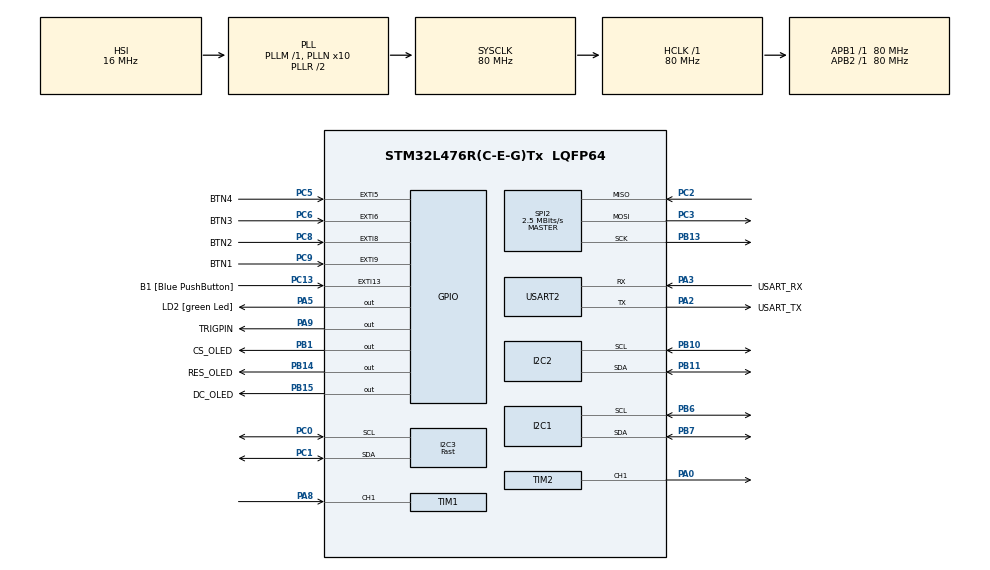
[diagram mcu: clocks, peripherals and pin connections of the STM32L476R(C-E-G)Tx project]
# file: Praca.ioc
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Dma.Request0=TIM2_CH1
Dma.TIM2_CH1.0.Direction=DMA_MEMORY_TO_PERIPH
Dma.TIM2_CH1.0.Instance=DMA1_Channel5
Dma.TIM2_CH1.0.MemDataAlignment=DMA_MDATAALIGN_HALFWORD
Dma.TIM2_CH1.0.MemInc=DMA_MINC_ENABLE
Dma.TIM2_CH1.0.Mode=DMA_NORMAL
Dma.TIM2_CH1.0.PeriphDataAlignment=DMA_PDATAALIGN_HALFWORD
Dma.TIM2_CH1.0.PeriphInc=DMA_PINC_DISABLE
Dma.TIM2_CH1.0.Priority=DMA_PRIORITY_LOW
I2C1.CustomTiming=Disabled
I2C1.Timing=0x10D19CE4
I2C2.Timing=0x10D19CE4
I2C3.I2C_Speed_Mode=I2C_Fast
I2C3.Timing=0x00F12981
Mcu.Family=STM32L4
Mcu.Name=STM32L476R(C-E-G)Tx
Mcu.Package=LQFP64
NVIC.DMA1_Channel5_IRQn=true\:0\:0\:false\:false\:true\:false\:true\:true
NVIC.EXTI9_5_IRQn=true\:0\:0\:false\:false\:true\:true\:true\:true
NVIC.PriorityGroup=NVIC_PRIORITYGROUP_4
NVIC.TIM1_CC_IRQn=true\:0\:0\:false\:false\:true\:true\:true\:true
PA0.Signal=S_TIM2_CH1
PA13\ (JTMS-SWDIO).GPIO_Label=TMS
PA13\ (JTMS-SWDIO).Mode=Serial_Wire
PA13\ (JTMS-SWDIO).Signal=SYS_JTMS-SWDIO
PA14\ (JTCK-SWCLK).GPIO_Label=TCK
PA14\ (JTCK-SWCLK).Mode=Serial_Wire
PA14\ (JTCK-SWCLK).Signal=SYS_JTCK-SWCLK
PA2.GPIO_Label=USART_TX
PA2.GPIO_Mode=GPIO_MODE_AF_PP
PA2.GPIO_PuPd=GPIO_NOPULL
PA2.GPIO_Speed=GPIO_SPEED_FREQ_VERY_HIGH
PA2.Mode=Asynchronous
PA2.Signal=USART2_TX
PA3.GPIO_Label=USART_RX
PA3.GPIO_Mode=GPIO_MODE_AF_PP
PA3.GPIO_PuPd=GPIO_NOPULL
PA3.GPIO_Speed=GPIO_SPEED_FREQ_VERY_HIGH
PA3.Mode=Asynchronous
PA3.Signal=USART2_RX
PA5.GPIO_Label=LD2 [green Led]
PA5.GPIO_ModeDefaultOutputPP=GPIO_MODE_OUTPUT_PP
PA5.GPIO_PuPd=GPIO_NOPULL
PA5.GPIO_Speed=GPIO_SPEED_FREQ_LOW
PA5.Signal=GPIO_Output
PA8.Signal=S_TIM1_CH1
PA9.GPIO_Label=TRIGPIN
PA9.Signal=GPIO_Output
PB1.GPIO_Label=CS_OLED
PB1.Signal=GPIO_Output
PB10.Mode=I2C
PB10.Signal=I2C2_SCL
PB11.Mode=I2C
PB11.Signal=I2C2_SDA
PB13.Mode=Full_Duplex_Master
PB13.Signal=SPI2_SCK
PB14.GPIO_Label=RES_OLED
PB14.Signal=GPIO_Output
PB15.GPIO_Label=DC_OLED
PB15.Signal=GPIO_Output
PB3\ (JTDO-TRACESWO).GPIO_Label=SWO
PB3\ (JTDO-TRACESWO).Signal=SYS_JTDO-SWO
PB6.Mode=I2C
PB6.Signal=I2C1_SCL
PB7.Mode=I2C
PB7.Signal=I2C1_SDA
PC0.Mode=I2C
PC0.Signal=I2C3_SCL
PC1.Mode=I2C
PC1.Signal=I2C3_SDA
PC13.GPIO_Label=B1 [Blue PushButton]
PC13.GPIO_ModeDefaultEXTI=GPIO_MODE_IT_FALLING
PC13.GPIO_PuPd=GPIO_NOPULL
PC13.Signal=GPXTI13
PC14-OSC32_IN\ (PC14).Mode=LSE-External-Oscillator
PC14-OSC32_IN\ (PC14).Signal=RCC_OSC32_IN
PC15-OSC32_OUT\ (PC15).Mode=LSE-External-Oscillator
PC15-OSC32_OUT\ (PC15).Signal=RCC_OSC32_OUT
PC2.Mode=Full_Duplex_Master
PC2.Signal=SPI2_MISO
PC3.Mode=Full_Duplex_Master
PC3.Signal=SPI2_MOSI
PC5.GPIO_Label=BTN4
PC5.GPIO_ModeDefaultEXTI=GPIO_MODE_IT_FALLING
PC5.GPIO_PuPd=GPIO_PULLUP
PC5.Signal=GPXTI5
PC6.GPIO_Label=BTN3
PC6.GPIO_ModeDefaultEXTI=GPIO_MODE_IT_FALLING
PC6.GPIO_PuPd=GPIO_PULLUP
PC6.Signal=GPXTI6
PC8.GPIO_Label=BTN2
PC8.GPIO_ModeDefaultEXTI=GPIO_MODE_IT_FALLING
PC8.GPIO_PuPd=GPIO_PULLUP
PC8.Signal=GPXTI8
PC9.GPIO_Label=BTN1
PC9.GPIO_ModeDefaultEXTI=GPIO_MODE_IT_FALLING
PC9.GPIO_PuPd=GPIO_PULLUP
PC9.Signal=GPXTI9
PH0-OSC_IN\ (PH0).Signal=RCC_OSC_IN
PH1-OSC_OUT\ (PH1).Signal=RCC_OSC_OUT
ProjectManager.HeapSize=0x200
ProjectManager.StackSize=0x400
ProjectManager.TargetToolchain=STM32CubeIDE
RCC.ADCFreq_Value=64000000
RCC.AHBFreq_Value=80000000
RCC.APB1Freq_Value=80000000
RCC.APB1TimFreq_Value=80000000
RCC.APB2Freq_Value=80000000
RCC.APB2TimFreq_Value=80000000
RCC.CortexFreq_Value=80000000
RCC.HCLKFreq_Value=80000000
RCC.HSE_VALUE=8000000
RCC.HSI_VALUE=16000000
RCC.MSI_VALUE=4000000
RCC.PLLN=10
RCC.PLLSourceVirtual=RCC_PLLSOURCE_HSI
RCC.PREFETCH_ENABLE=1
RCC.SYSCLKFreq_VALUE=80000000
RCC.SYSCLKSource=RCC_SYSCLKSOURCE_PLLCLK
RCC.USBFreq_Value=64000000
RCC.VCOOutputFreq_Value=160000000
SH.S_TIM1_CH1.0=TIM1_CH1,Input_Capture1_from_TI1
SH.S_TIM2_CH1.0=TIM2_CH1,PWM Generation1 CH1
SPI2.BaudRatePrescaler=SPI_BAUDRATEPRESCALER_32
SPI2.CalculateBaudRate=2.5 MBits/s
SPI2.DataSize=SPI_DATASIZE_8BIT
SPI2.Direction=SPI_DIRECTION_2LINES
SPI2.Mode=SPI_MODE_MASTER
SPI2.VirtualType=VM_MASTER
TIM1.Channel-Input_Capture1_from_TI1=TIM_CHANNEL_1
TIM1.Period=0xffff-1
TIM1.Prescaler=80-1
TIM2.Channel-PWM\ Generation1\ CH1=TIM_CHANNEL_1
TIM2.Period=100-1
TIM2.Prescaler=0
USART2.VirtualMode-Asynchronous=VM_ASYNC
board=NUCLEO-L476RG

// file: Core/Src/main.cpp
/* USER CODE BEGIN Header */
/**
  ******************************************************************************
  * @file           : main.c
  * @brief          : Main program body
  ******************************************************************************
  * @attention
  *
  * Copyright (c) 2024 STMicroelectronics.
  * All rights reserved.
  *
  * This software is licensed under terms that can be found in the LICENSE file
  * in the root directory of this software component.
  * If no LICENSE file comes with this software, it is provided AS-IS.
  *
  ******************************************************************************
  */
/* USER CODE END Header */
#include "main.h"
#include "dma.h"
#include "i2c.h"
#include "spi.h"
#include "tim.h"
#include "usart.h"
#include "gpio.h"

/* USER CODE BEGIN Includes */
#include "SEN55.hpp"
#include "bme280.hpp"
#include "AS7331.hpp"
#include <ssd1306.hpp>
#include "ssd1306_fonts.h"
#include "HCSR04.h"
#include "led.h"
// Biblioteki do konwersji ciągów znakowych:
#include <cstring>
#include <string>
/* USER CODE END Includes */

void SystemClock_Config(void);

/* USER CODE BEGIN 0 */

// Enum zstanów urządzenia::
enum State{
	State_IDLE,
	State_Start,
	State_SEN55,
	State_AS7331,
	State_BME280,
	State_AS5600,
};

// Zmienne do określania poziomu morza:
State currentState = State_IDLE;
uint8_t startStateDistanceCmMax = 5;
uint8_t startStateDistanceCmMin = 2;
uint8_t goToIDLEDistance = 50;

volatile uint64_t systick = 0;

// Funkcje pomocnicze do osbsługi ciągów znakowych/liczb za pomoca biblioteki do kontrolera OLED ssd1306:
char* stringToCharArray(const std::string& text) {
    char* charArray = new char[text.size() + 1];
    std::strcpy(charArray, text.c_str());
    return charArray;
}

std::string doubleToString(double value) {
    char buffer[32];
    sprintf(buffer, "%.2f", value);
    return std::string(buffer);
}

/* USER CODE END 0 */

int main(void)
{

  /* MCU Configuration--------------------------------------------------------*/

  /* Reset of all peripherals, Initializes the Flash interface and the Systick. */
  HAL_Init();

  /* Configure the system clock */
  SystemClock_Config();

  /* Initialize all configured peripherals */
  MX_GPIO_Init();
  MX_DMA_Init();
  MX_USART2_UART_Init();
  MX_I2C1_Init();
  MX_I2C2_Init();
  MX_I2C3_Init();
  MX_SPI2_Init();
  MX_TIM1_Init();
  MX_TIM2_Init();
  /* USER CODE BEGIN 2 */

  // Inicjalizacja:

  // OLED:
  ssd1306_Init();
  ssd1306_Fill(Black);
  ssd1306_UpdateScreen();

  // Włączenie systicka:
  SysTick_Config(SystemCoreClock / 1000);

  // AS7331:
  AS7331 as7331(&hi2c3, 100);
  as7331.init();

  // BME280:
  BME280 bme280(&hi2c2, 100);
  bme280.setNormalMode();
  bme280.init();

  // SEN55
  SEN55 sen55(&hi2c1, 1000);
//  sen55.getDeviceName();
  sen55.startMeasurement();
  HAL_Delay(1000);

  // HC-SR04 timer:
  HAL_TIM_IC_Start_IT(&htim1, TIM_CHANNEL_1);

  // Ustaw domyślny stan maszyny stanów:
  currentState = State_IDLE;

  /* USER CODE END 2 */

  /* Infinite loop */
  while (1)
  {

    /* USER CODE BEGIN 3 */

	  // Maszyna stanów stacji pogodowej:
	  switch(currentState)
	  {
	  case State_IDLE:
		  HCSR04_Read();
		  if (systick % 100 == 0 || systick < 100){

			  // Wyświetlenie napisu ekranu uśpienia:
			  ssd1306_Fill(Black);
			  ssd1306_SetCursor(19,28);
			  char* text1 = stringToCharArray("STACJA POGODOWA");
			  ssd1306_WriteString(text1, Font_6x8, White);
			  ssd1306_UpdateScreen();
			  delete[] text1; // Zwolnienie pamięci po użyciu

			  // Sprawdzenie czujnika odległości:
			if (Distance <= startStateDistanceCmMax && Distance >= startStateDistanceCmMin){
			  currentState = State_Start;
			  systick = 0;
			}}
		  break;
	  case State_Start:
		  if (systick % 1000 == 0 || systick < 100){
			  // Informacje wyświetlane:
			  ssd1306_Fill(Black);
			  ssd1306_SetCursor(16, 0);
			  char* text2 = stringToCharArray("ODCZYTAJ PARAMETR:");
			  ssd1306_WriteString(text2, Font_6x8, White);
			  delete[] text2;

			  ssd1306_SetCursor(0, 10);
			  char* text3 = stringToCharArray("1. PODST. PARAMETRY");
			  ssd1306_WriteString(text3, Font_6x8, White);
			  delete[] text3;

			  ssd1306_SetCursor(0, 20);
			  char* text4 = stringToCharArray("2. JAKOSC POWIETRZA");
			  ssd1306_WriteString(text4, Font_6x8, White);
			  delete[] text4;

			  ssd1306_SetCursor(0, 30);
			  char* text5 = stringToCharArray("3. PROMIENIOWANIE UV");
			  ssd1306_WriteString(text5, Font_6x8, White);
			  delete[] text5;

			  ssd1306_SetCursor(0, 40);
			  char* text6 = stringToCharArray("4. KIERUNEK WIATRU");
			  ssd1306_WriteString(text6, Font_6x8, White);
			  delete[] text6;

			  ssd1306_UpdateScreen();

			  bme280.init();
			  bme280.setNormalMode();
		  }
		  break;
	  case State_SEN55:
		  if (systick % 1000 == 0 || systick < 100){
			  if (systick < 5000)
			  {
				  // Informacje wyświetlane:
				  ssd1306_Fill(Black);
				  sen55.readMeasuremendValues();

				  ssd1306_SetCursor(5,5);
				  char* text1 = stringToCharArray("JAKOSC POWIETRZA 1/2:");
				  ssd1306_WriteString(text1, Font_6x8, White);
				  delete[] text1;

				  ssd1306_SetCursor(5,20);
				  char* text2 = stringToCharArray("PM 1.0: " + sen55.sensor_string_data.pm1_0 + " ug/m3");
				  ssd1306_WriteString(text2, Font_6x8, White);
				  delete[] text2;

				  ssd1306_SetCursor(5,35);
				  char* text3 = stringToCharArray("PM 2.5: " + sen55.sensor_string_data.pm2_5 + " ug/m3");
				  ssd1306_WriteString(text3, Font_6x8, White);
				  delete[] text3;

				  ssd1306_SetCursor(5, 50);
				  char* text4 = stringToCharArray("PM 4.0: " + sen55.sensor_string_data.pm4_0 + " ug/m3");
				  ssd1306_WriteString(text4, Font_6x8, White);
				  delete[] text4;
				  ssd1306_UpdateScreen();
			  } else {
				  // Informacje wyświetlane:
				  ssd1306_Fill(Black);

				  ssd1306_SetCursor(5,5);
				  char* text5 = stringToCharArray("JAKOSC POWIETRZA 2/2:");
				  ssd1306_WriteString(text5, Font_6x8, White);
				  delete[] text5;

				  ssd1306_SetCursor(5,20);
				  char* text6 = stringToCharArray("PM 10: " + sen55.sensor_string_data.pm10 + " ug/m3");
				  ssd1306_WriteString(text6, Font_6x8, White);
				  delete[] text6;

				  ssd1306_SetCursor(5,35);
				  char* text7 = stringToCharArray("VOC:   " + sen55.sensor_string_data.vocIndex + " [0-500]");
				  ssd1306_WriteString(text7, Font_6x8, White);
				  delete[] text7;

				  ssd1306_SetCursor(5, 50);
				  char* text8 = stringToCharArray("NOX:   " + sen55.sensor_string_data.noxIndex + " [0-500]");
				  ssd1306_WriteString(text8, Font_6x8, White);
				  delete[] text8;

				  ssd1306_UpdateScreen();
			  }
		  }

		  break;
	  case State_AS7331:
		  if (systick % 1000 == 0 || systick < 100){
			  ssd1306_Fill(Black);
			  // Odczyt parametrów:
			  as7331.readMeasurements();

			  // Informacje wyświetlane:
			  ssd1306_SetCursor(5,5);
			  char* text1 = stringToCharArray("Promieniowanie UV:");
			  ssd1306_WriteString(text1, Font_6x8, White);
			  delete[] text1;

			  ssd1306_SetCursor(5,20);
			  char* text2 = stringToCharArray("UVA: " + doubleToString(as7331.uv_data.uva) + " uW/cm2");
			  ssd1306_WriteString(text2, Font_6x8, White);
			  delete[] text2;

			  ssd1306_SetCursor(5,35);
			  char* text3 = stringToCharArray("UVB: " + doubleToString(as7331.uv_data.uvb) + " uW/cm2");
			  ssd1306_WriteString(text3, Font_6x8, White);
			  delete[] text3;

			  ssd1306_SetCursor(5, 50);
			  char* text4 = stringToCharArray("UVC: " + doubleToString(as7331.uv_data.uvc) + " uW/cm2");
			  ssd1306_WriteString(text4, Font_6x8, White);
			  delete[] text4;

			  ssd1306_UpdateScreen();
		  }
		  break;
	  case State_AS5600:
		  if (systick % 1000 == 0 || systick < 100){
			  ssd1306_Fill(Black);

			  ssd1306_SetCursor(5,5);
			  char* text1 = stringToCharArray("Kierunek wiatru:");
			  ssd1306_WriteString(text1, Font_6x8, White);
			  delete[] text1;

			  ssd1306_SetCursor(5,35);
			  char* text3 = stringToCharArray("brak odczytu...");
			  ssd1306_WriteString(text3, Font_6x8, White);
			  delete[] text3;

			  ssd1306_UpdateScreen();
		  }
		  break;
	  case State_BME280:
		  if (systick % 1000 == 0 || systick < 100){
			  ssd1306_Fill(Black);

			  double pressure = bme280.getAtmPressure();
			  sen55.readMeasuremendValues();

			  ssd1306_SetCursor(5,5);
			  char* text1 = stringToCharArray("Podstawowe Parametry:");
			  ssd1306_WriteString(text1, Font_6x8, White);
			  delete[] text1;

			  ssd1306_SetCursor(5,20);
			  char* text2 = stringToCharArray("Temp:  " + sen55.sensor_string_data.temperature + " C deg");
			  ssd1306_WriteString(text2, Font_6x8, White);
			  delete[] text2;

			  ssd1306_SetCursor(5,35);
			  char* text3 = stringToCharArray("Hum:   " + sen55.sensor_string_data.humidity + " %");
			  ssd1306_WriteString(text3, Font_6x8, White);
			  delete[] text3;

			  ssd1306_SetCursor(5, 50);
			  char* text4 = stringToCharArray("Press: " + doubleToString(static_cast<double>(pressure/100.0)) + " hPa");
			  ssd1306_WriteString(text4, Font_6x8, White);
			  delete[] text4;

			  ssd1306_UpdateScreen();
		  }
		  break;
	  }

  }
  /* USER CODE END 3 */
}

void SystemClock_Config(void)
{
  RCC_OscInitTypeDef RCC_OscInitStruct = {0};
  RCC_ClkInitTypeDef RCC_ClkInitStruct = {0};

  /** Configure the main internal regulator output voltage
  */
  if (HAL_PWREx_ControlVoltageScaling(PWR_REGULATOR_VOLTAGE_SCALE1) != HAL_OK)
  {
    Error_Handler();
  }

  /** Initializes the RCC Oscillators according to the specified parameters
  * in the RCC_OscInitTypeDef structure.
  */
  RCC_OscInitStruct.OscillatorType = RCC_OSCILLATORTYPE_HSI;
  RCC_OscInitStruct.HSIState = RCC_HSI_ON;
  RCC_OscInitStruct.HSICalibrationValue = RCC_HSICALIBRATION_DEFAULT;
  RCC_OscInitStruct.PLL.PLLState = RCC_PLL_ON;
  RCC_OscInitStruct.PLL.PLLSource = RCC_PLLSOURCE_HSI;
  RCC_OscInitStruct.PLL.PLLM = 1;
  RCC_OscInitStruct.PLL.PLLN = 10;
  RCC_OscInitStruct.PLL.PLLP = RCC_PLLP_DIV7;
  RCC_OscInitStruct.PLL.PLLQ = RCC_PLLQ_DIV2;
  RCC_OscInitStruct.PLL.PLLR = RCC_PLLR_DIV2;
  if (HAL_RCC_OscConfig(&RCC_OscInitStruct) != HAL_OK)
  {
    Error_Handler();
  }

  /** Initializes the CPU, AHB and APB buses clocks
  */
  RCC_ClkInitStruct.ClockType = RCC_CLOCKTYPE_HCLK|RCC_CLOCKTYPE_SYSCLK
                              |RCC_CLOCKTYPE_PCLK1|RCC_CLOCKTYPE_PCLK2;
  RCC_ClkInitStruct.SYSCLKSource = RCC_SYSCLKSOURCE_PLLCLK;
  RCC_ClkInitStruct.AHBCLKDivider = RCC_SYSCLK_DIV1;
  RCC_ClkInitStruct.APB1CLKDivider = RCC_HCLK_DIV1;
  RCC_ClkInitStruct.APB2CLKDivider = RCC_HCLK_DIV1;

  if (HAL_RCC_ClockConfig(&RCC_ClkInitStruct, FLASH_LATENCY_4) != HAL_OK)
  {
    Error_Handler();
  }
}

/* USER CODE BEGIN 4 */

// Przerwanie co 1 ms systick:
void HAL_SYSTICK_Callback(void)
{
//	if (currentState != State_IDLE) ++systick;
	++systick;

	if (systick >= 60000) systick = 0; // Jeżeli dłużej niż jedna minuta

	if (systick > 10000){
		currentState = State_IDLE; // Jeżeli dłużej niż 10 sekund
		systick = 0;
	}
}

// Przerwania od przycisków:
void HAL_GPIO_EXTI_Callback(uint16_t GPIO_Pin){
	systick = 0;
    if (GPIO_Pin == BTN1_Pin) {
        // Obsługa dla przycisku 1 - podstawowe parametry:
        currentState = State_BME280;
    }
    else if (GPIO_Pin == BTN2_Pin) {
        // Obsługa dla przycisku 2 - jakosc powierrza:
        currentState = State_SEN55;
    }
    else if (GPIO_Pin == BTN3_Pin) {
        // Obsługa dla przycisku 3 - promieniowanie uv:
        currentState = State_AS7331;
    }
    else if (GPIO_Pin == BTN4_Pin) {
        // Obsługa dla przycisku 4 - kierunek wiatru:
        currentState = State_AS5600;
    }
}

/* USER CODE END 4 */

void Error_Handler(void)
{
  __disable_irq();
  while (1)
  {
  }
}
